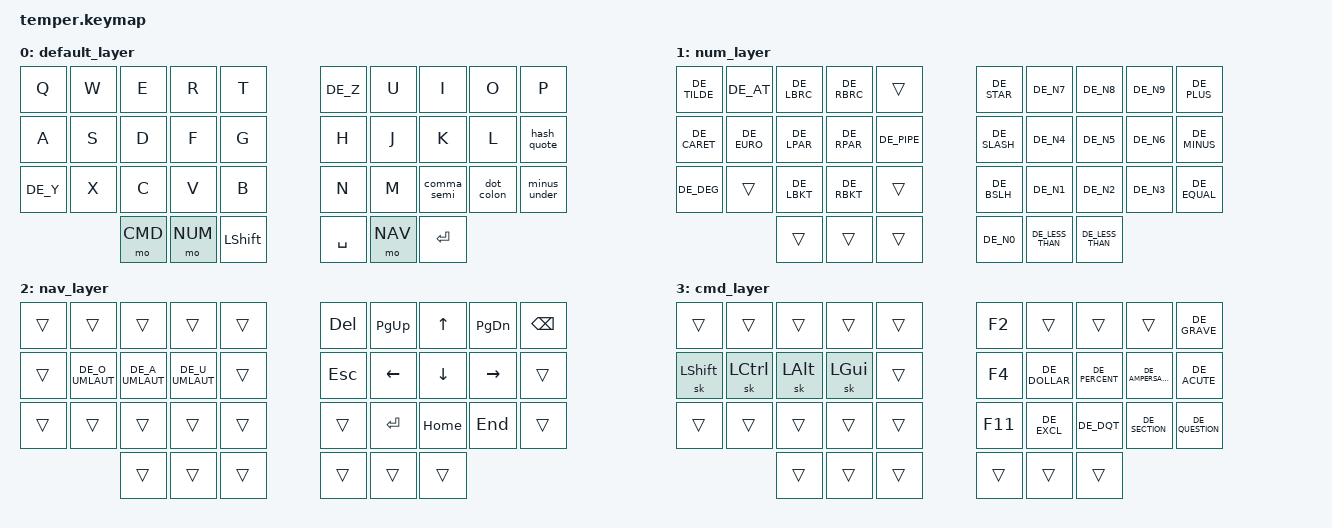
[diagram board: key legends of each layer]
/*
 * Copyright (c) 2020 The ZMK Contributors
 *
 * SPDX-License-Identifier: MIT
 * 
 */

#include <behaviors.dtsi>
#include <dt-bindings/zmk/keys.h>
#include <dt-bindings/zmk/bt.h>
#include <dt-bindings/zmk/outputs.h>
#include <locale/keys_de.h>

#define DEFAULT 0
#define NUM 1
#define NAV 2
#define CMD 3

# define ______ &trans

/ {
    behaviors {

        comma_semi: comma_semi {
            compatible = "zmk,behavior-mod-morph";
            #binding-cells = <0>;
            bindings = <&kp COMMA>, <&kp SEMI>;
            mods = <(MOD_LSFT)>;
        };
        dot_colon: dot_colon {
            compatible = "zmk,behavior-mod-morph";
            #binding-cells = <0>;
            bindings = <&kp DOT>, <&kp COLON>;
            mods = <(MOD_LSFT)>;
        };

        minus_under: minus_under {
            compatible = "zmk,behavior-mod-morph";
            #binding-cells = <0>;
            bindings = <&kp DE_MINUS>, <&kp DE_UNDER>;
            mods = <(MOD_LSFT)>;
        };
        hash_quote: hash_quote {
            compatible = "zmk,behavior-mod-morph";
            #binding-cells = <0>;
            bindings = <&kp DE_HASH>, <&kp DE_SINGLE_QUOTE>;
            mods = <(MOD_LSFT)>;
        };

    };
        keymap {
                compatible = "zmk,keymap";

                default_layer {
                        bindings = <
// ╭─────────────┬─────────────┬─────────────┬─────────────┬─────────────╮   ╭─────────────┬─────────────┬─────────────┬─────────────┬─────────────╮
        &kp Q         &kp W         &kp E         &kp R         &kp T            &kp DE_Z       &kp U         &kp I         &kp O         &kp P   
// ├─────────────┼─────────────┼─────────────┼─────────────┼─────────────┤   ├─────────────┼─────────────┼─────────────┼─────────────┼─────────────┤
        &kp A         &kp S         &kp D         &kp F         &kp G             &kp H         &kp J         &kp K         &kp L       &hash_quote
// ├─────────────┼─────────────┼─────────────┼─────────────┼─────────────┤   ├─────────────┼─────────────┼─────────────┼─────────────┼─────────────┤
        &kp DE_Y      &kp X         &kp C         &kp V         &kp B             &kp N         &kp M      &comma_semi    &dot_colon    &minus_under
// ╰─────────────┴─────────────┼─────────────┼─────────────┼─────────────┤   ├─────────────┼─────────────┼─────────────┼─────────────┴─────────────╯
                                   &mo CMD       &mo NUM      &kp LSHFT        &kp SPACE      &mo NAV        &kp RET
//                             ╰─────────────┴─────────────┴─────────────╯   ╰─────────────┴─────────────┴─────────────╯
                        >;
                };
                
                num_layer {
                        bindings = <
// ╭─────────────┬─────────────┬─────────────┬─────────────┬─────────────╮   ╭─────────────┬─────────────┬─────────────┬─────────────┬─────────────╮
      &kp DE_TILDE  &kp DE_AT    &kp DE_LBRC   &kp DE_RBRC      ______         &kp DE_STAR    &kp DE_N7    &kp DE_N8     &kp DE_N9      &kp DE_PLUS
// ├─────────────┼─────────────┼─────────────┼─────────────┼─────────────┤   ├─────────────┼─────────────┼─────────────┼─────────────┼─────────────┤
      &kp DE_CARET  &kp DE_EURO  &kp DE_LPAR   &kp DE_RPAR   &kp DE_PIPE       &kp DE_SLASH   &kp DE_N4    &kp DE_N5     &kp DE_N6      &kp DE_MINUS
// ├─────────────┼─────────────┼─────────────┼─────────────┼─────────────┤   ├─────────────┼─────────────┼─────────────┼─────────────┼─────────────┤
      &kp DE_DEG     ______      &kp DE_LBKT   &kp DE_RBKT      ______         &kp DE_BSLH    &kp DE_N1    &kp DE_N2     &kp DE_N3      &kp DE_EQUAL
// ╰─────────────┴─────────────┼─────────────┼─────────────┼─────────────┤   ├─────────────┼─────────────┼─────────────┼─────────────┴─────────────╯
                                    ______        ______        ______         &kp DE_N0     &kp DE_LESS_THAN  &kp DE_LESS_THAN
//                             ╰─────────────┴─────────────┴─────────────╯   ╰─────────────┴─────────────┴─────────────╯
                        >;
                };

                nav_layer {
                        bindings = <
// ╭─────────────┬─────────────┬─────────────┬─────────────┬─────────────╮   ╭─────────────┬─────────────┬─────────────┬─────────────┬─────────────╮
        ______        ______        ______        ______        ______           &kp DEL       &kp PG_UP      &kp UP       &kp PG_DN       &kp BSPC
// ├─────────────┼─────────────┼─────────────┼─────────────┼─────────────┤   ├─────────────┼─────────────┼─────────────┼─────────────┼─────────────┤
        ______    &kp DE_O_UMLAUT &kp DE_A_UMLAUT &kp DE_U_UMLAUT ______         &kp ESC      &kp LEFT       &kp DOWN      &kp RIGHT      ______
// ├─────────────┼─────────────┼─────────────┼─────────────┼─────────────┤   ├─────────────┼─────────────┼─────────────┼─────────────┼─────────────┤
        ______        ______        ______        ______        ______            ______        &kp RET       &kp HOME      &kp END        ______
// ╰─────────────┴─────────────┼─────────────┼─────────────┼─────────────┤   ├─────────────┼─────────────┼─────────────┼─────────────┴─────────────╯
                                    ______        ______        ______            ______        ______        ______
//                             ╰─────────────┴─────────────┴─────────────╯   ╰─────────────┴─────────────┴─────────────╯
                        >;
                };

                cmd_layer {
                        bindings = <
// ╭─────────────┬─────────────┬─────────────┬─────────────┬─────────────╮   ╭─────────────┬─────────────┬─────────────┬─────────────┬─────────────╮
       ______          ______      ______        ______         ______            &kp F2        ______        ______        ______        &kp DE_GRAVE  
// ├─────────────┼─────────────┼─────────────┼─────────────┼─────────────┤   ├─────────────┼─────────────┼─────────────┼─────────────┼─────────────┤
       &sk LSHFT    &sk LCTRL     &sk LALT      &sk LGUI         ______           &kp F4     &kp DE_DOLLAR &kp DE_PERCENT &kp DE_AMPERSAND &kp DE_ACUTE           
// ├─────────────┼─────────────┼─────────────┼─────────────┼─────────────┤   ├─────────────┼─────────────┼─────────────┼─────────────┼─────────────┤
       ______         ______         ______      ______       ______              &kp F11    &kp DE_EXCL   &kp DE_DQT    &kp DE_SECTION &kp DE_QUESTION
// ╰─────────────┴─────────────┼─────────────┼─────────────┼─────────────┤   ├─────────────┼─────────────┼─────────────┼─────────────┴─────────────╯
                                    ______        ______        ______            ______        ______        ______
//                             ╰─────────────┴─────────────┴─────────────╯   ╰─────────────┴─────────────┴─────────────╯
                        >;
                };
        };
};
